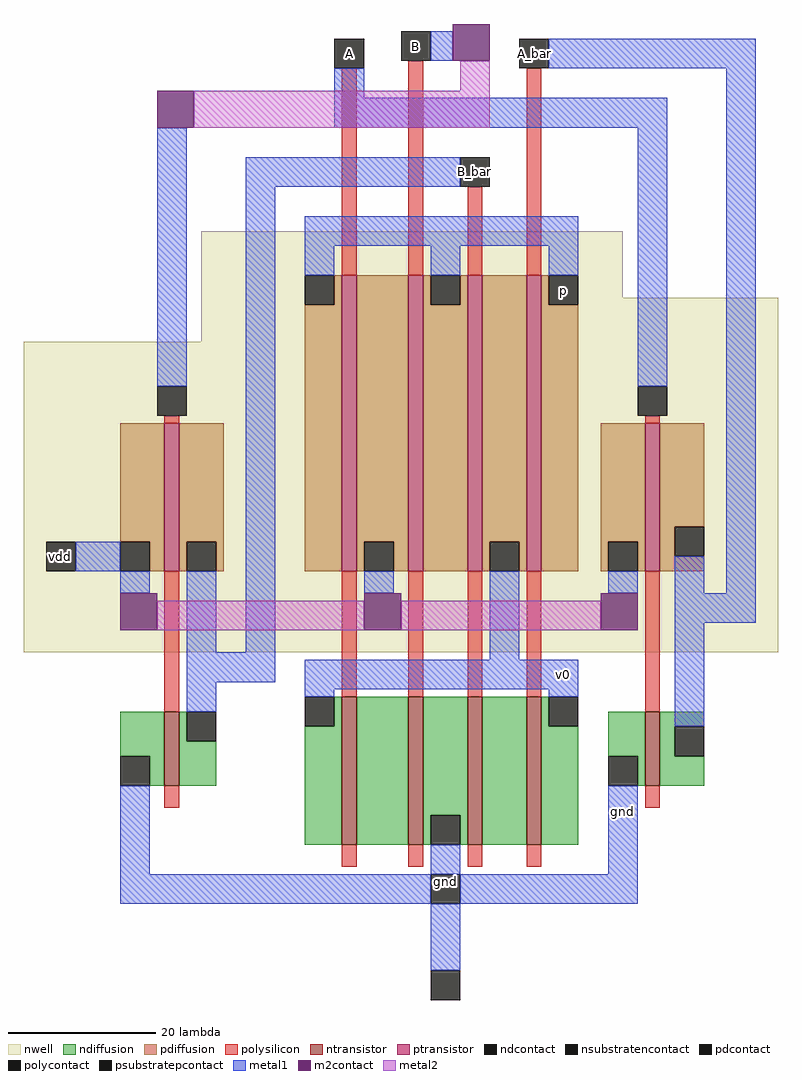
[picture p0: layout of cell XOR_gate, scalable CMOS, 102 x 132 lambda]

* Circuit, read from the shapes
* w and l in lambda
.subckt XOR_gate A A_bar B B_bar gnd p v0 vdd
M1 B_bar B gnd gnd nfet w=10 l=2
M2 n1 A v0 gnd nfet w=20 l=2
M3 gnd B n1 gnd nfet w=20 l=2
M4 n2 B_bar gnd gnd nfet w=20 l=2
M5 v0 A_bar n2 gnd nfet w=20 l=2
M6 A_bar A gnd gnd nfet w=10 l=2
M7 B_bar B vdd vdd pfet w=20 l=2
M8 vdd A p vdd pfet w=40 l=2
M9 p B vdd vdd pfet w=40 l=2
M10 v0 B_bar p vdd pfet w=40 l=2
M11 p A_bar v0 vdd pfet w=40 l=2
M12 A_bar A vdd vdd pfet w=20 l=2
.ends

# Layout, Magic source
magic
tech scmos
<< nwell >>
rect -14 80 43 89
rect -14 74 64 80
rect -38 32 64 74
<< ntransistor >>
rect -19 14 -17 24
rect 5 6 7 26
rect 14 6 16 26
rect 22 6 24 26
rect 30 6 32 26
rect 46 14 48 24
<< ptransistor >>
rect -19 43 -17 63
rect 5 43 7 83
rect 14 43 16 83
rect 22 43 24 83
rect 30 43 32 83
rect 46 43 48 63
<< ndiffusion >>
rect -25 18 -19 24
rect -21 14 -19 18
rect -17 20 -16 24
rect -17 14 -12 20
rect 4 22 5 26
rect 0 6 5 22
rect 7 6 14 26
rect 16 10 22 26
rect 16 6 17 10
rect 21 6 22 10
rect 24 6 30 26
rect 32 22 33 26
rect 32 6 37 22
rect 41 18 46 24
rect 45 14 46 18
rect 48 22 54 24
rect 48 18 50 22
rect 48 14 54 18
<< pdiffusion >>
rect 4 79 5 83
rect -25 47 -19 63
rect -21 43 -19 47
rect -17 47 -11 63
rect -17 43 -16 47
rect -12 43 -11 47
rect 0 43 5 79
rect 7 47 14 83
rect 7 43 8 47
rect 12 43 14 47
rect 16 79 17 83
rect 21 79 22 83
rect 16 43 22 79
rect 24 47 30 83
rect 24 43 25 47
rect 29 43 30 47
rect 32 79 33 83
rect 32 43 37 79
rect 40 47 46 63
rect 40 43 41 47
rect 45 43 46 47
rect 48 49 54 63
rect 48 45 50 49
rect 48 43 54 45
<< ndcontact >>
rect -25 14 -21 18
rect -16 20 -12 24
rect 0 22 4 26
rect 17 6 21 10
rect 33 22 37 26
rect 41 14 45 18
rect 50 18 54 22
<< pdcontact >>
rect 0 79 4 83
rect -25 43 -21 47
rect -16 43 -12 47
rect 8 43 12 47
rect 17 79 21 83
rect 25 43 29 47
rect 33 79 37 83
rect 41 43 45 47
rect 50 45 54 49
rect 17 -15 21 -11
<< psubstratepcontact >>
rect 17 -2 21 2
<< nsubstratencontact >>
rect -35 43 -31 47
<< polysilicon >>
rect 5 83 7 111
rect 14 83 16 112
rect 22 83 24 95
rect 30 83 32 111
rect -19 63 -17 64
rect 46 63 48 64
rect -19 24 -17 43
rect 5 26 7 43
rect 14 26 16 43
rect 22 26 24 43
rect 30 26 32 43
rect -19 11 -17 14
rect 46 24 48 43
rect 46 11 48 14
rect 5 3 7 6
rect 14 3 16 6
rect 22 3 24 6
rect 30 3 32 6
<< polycontact >>
rect 4 111 8 115
rect 13 112 17 116
rect 29 111 33 115
rect 21 95 25 99
rect -20 64 -16 68
rect 45 64 49 68
<< metal1 >>
rect 17 112 20 116
rect 33 111 61 115
rect 4 107 8 111
rect 4 103 49 107
rect -20 68 -16 103
rect -8 95 21 99
rect -31 43 -25 47
rect -25 40 -21 43
rect -16 32 -12 43
rect -8 32 -4 95
rect 0 87 37 91
rect 0 83 4 87
rect 17 83 21 87
rect 33 83 37 87
rect 45 68 49 103
rect 8 40 12 43
rect -16 28 -4 32
rect 25 31 29 43
rect 41 40 45 43
rect 50 40 54 45
rect 57 40 61 111
rect 50 36 61 40
rect -16 24 -12 28
rect 0 27 37 31
rect 0 26 4 27
rect 33 26 37 27
rect 50 22 54 36
rect -25 2 -21 14
rect 17 2 21 6
rect 41 2 45 14
rect -25 -2 17 2
rect 21 -2 45 2
rect 17 -11 21 -2
<< m2contact >>
rect 20 112 25 117
rect -20 103 -15 108
rect -25 35 -20 40
rect 8 35 13 40
rect 40 35 45 40
<< metal2 >>
rect 21 108 25 112
rect -15 103 25 108
rect -20 35 8 39
rect 13 35 40 39
<< labels >>
rlabel metal1 17 -2 21 4 1 gnd
rlabel metal1 41 10 45 11 1 gnd
rlabel polycontact 4 111 8 115 5 A
rlabel polycontact 13 112 17 116 5 B
rlabel nsubstratencontact -35 43 -31 47 3 vdd
rlabel polycontact 21 95 25 99 1 B_bar
rlabel pdcontact 33 79 37 83 1 p
rlabel metal1 33 27 37 31 1 v0
rlabel polycontact 29 111 33 115 5 A_bar
<< end >>
